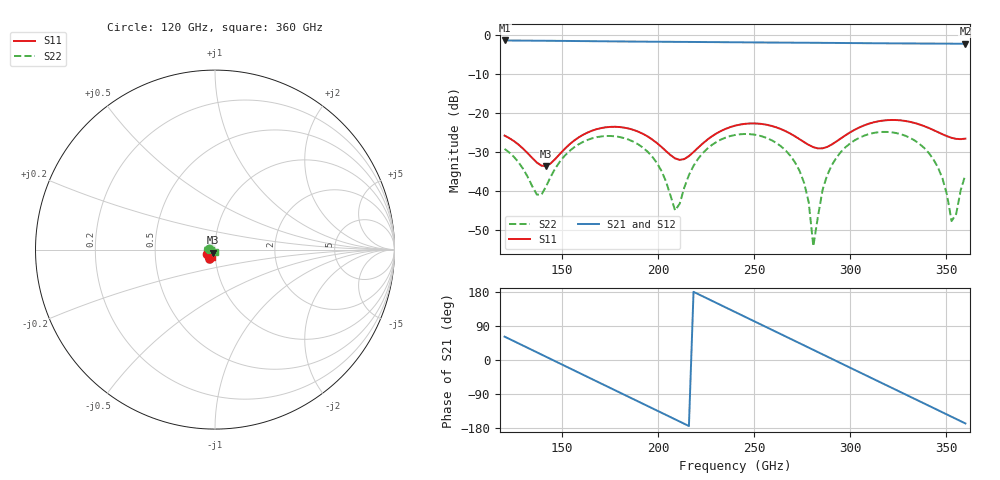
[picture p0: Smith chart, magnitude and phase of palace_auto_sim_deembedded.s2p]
! Created with skrf 1.11.0 (http://scikit-rf.org).
# GHz S DB R 50.0
!freq dBS11 angS11 dBS21 angS21 dBS12 angS12 dBS22 angS22
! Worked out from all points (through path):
!   101 points, 120 GHz to 360 GHz, reference 50 ohm
!   highest |S21| = -1.48 dB at 120 GHz (marker M1); lowest = -2.3 dB at 360 GHz (marker M2)
!   group delay of S21, straight-line fit = 6.82 ps
!   lowest |S11| = -33.6 dB at 141.6 GHz (marker M3), VSWR 1.04, Z = 48.8 - j1.68 ohm
!   |S11| at or under -10 dB: start of sweep to end of sweep
!   |S22| runs from -54.1 to -24.9 dB; largest |S21 - S12| = 9.4e-14
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120  -25.81 -152.4  -1.48 61.6  -1.48 61.6  -29.21 174.1
136.8  -32.71 -147.8  -1.54 20.3  -1.54 20.3  -40.91 -169.0
141.6  -33.60 -124.7  -1.56 8.5  -1.56 8.5  -38.81 -122.9
160.8  -25.62 -104.3  -1.64 -38.8  -1.64 -38.8  -27.44 -133.4
180  -23.63 -133.4  -1.73 -85.9  -1.73 -85.9  -26.19 -176.9
201.6  -28.67 -153.5  -1.81 -138.9  -1.81 -138.9  -34.76 141.2
208.8  -31.64 -137.6  -1.84 -156.6  -1.84 -156.6  -44.96 -178.1
220.8  -28.90 -97.8  -1.87 174.0  -1.87 174.0  -31.73 -116.6
240  -23.28 -109.8  -1.94 126.8  -1.94 126.8  -25.66 -158.0
254.4  -22.87 -129.5  -2.00 91.5  -2.00 91.5  -26.06 167.4
271.2  -25.98 -143.0  -2.05 50.3  -2.05 50.3  -32.62 127.7
278.4  -28.20 -136.2  -2.07 32.6  -2.07 32.6  -42.89 118.1
280.8  -28.78 -130.8  -2.08 26.7  -2.08 26.7  -54.10 149.2
285.6  -29.08 -116.9  -2.09 14.9  -2.09 14.9  -39.73 -100.3
292.8  -27.33 -100.7  -2.12 -2.8  -2.12 -2.8  -31.47 -113.3
304.8  -23.72 -99.9  -2.16 -32.2  -2.16 -32.2  -26.36 -142.3
321.6  -21.82 -118.0  -2.22 -73.3  -2.22 -73.3  -24.97 175.0
343.2  -24.36 -135.0  -2.28 -126.2  -2.28 -126.2  -31.78 115.4
348  -25.45 -132.8  -2.29 -138.0  -2.29 -138.0  -36.68 97.2
352.8  -26.38 -126.7  -2.30 -149.7  -2.30 -149.7  -47.67 42.3
355.2  -26.65 -122.4  -2.31 -155.6  -2.31 -155.6  -45.86 -45.3
360  -26.59 -112.8  -2.32 -167.4  -2.32 -167.4  -35.86 -87.7
